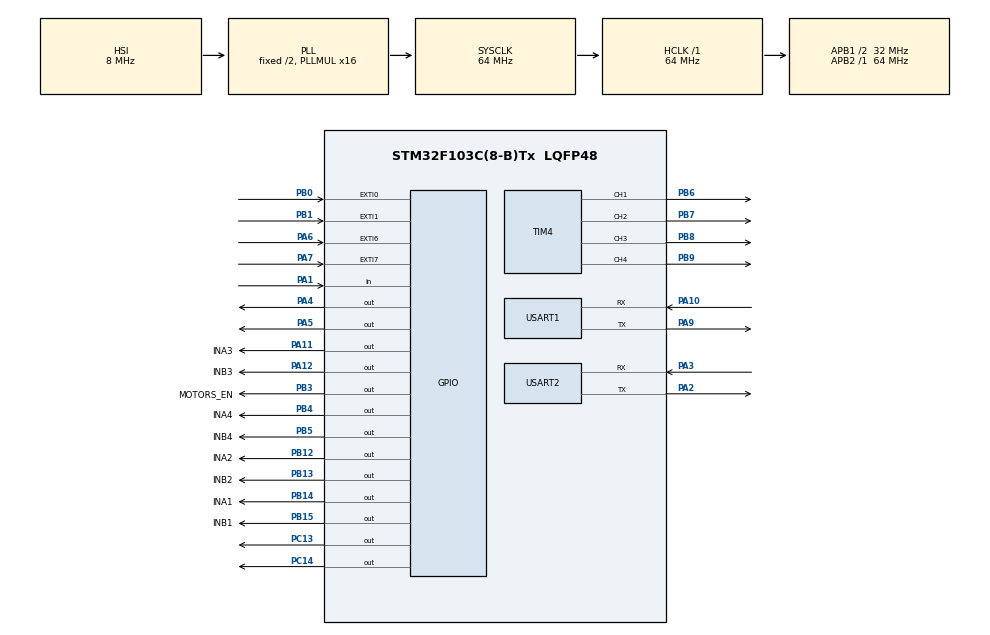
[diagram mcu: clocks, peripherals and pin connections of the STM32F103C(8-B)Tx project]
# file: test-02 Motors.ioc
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Dma.Request0=USART1_RX
Dma.Request1=USART2_RX
Dma.USART1_RX.0.Direction=DMA_PERIPH_TO_MEMORY
Dma.USART1_RX.0.Instance=DMA1_Channel5
Dma.USART1_RX.0.MemDataAlignment=DMA_MDATAALIGN_BYTE
Dma.USART1_RX.0.MemInc=DMA_MINC_ENABLE
Dma.USART1_RX.0.Mode=DMA_NORMAL
Dma.USART1_RX.0.PeriphDataAlignment=DMA_PDATAALIGN_BYTE
Dma.USART1_RX.0.PeriphInc=DMA_PINC_DISABLE
Dma.USART1_RX.0.Priority=DMA_PRIORITY_LOW
Dma.USART2_RX.1.Direction=DMA_PERIPH_TO_MEMORY
Dma.USART2_RX.1.Instance=DMA1_Channel6
Dma.USART2_RX.1.MemDataAlignment=DMA_MDATAALIGN_BYTE
Dma.USART2_RX.1.MemInc=DMA_MINC_ENABLE
Dma.USART2_RX.1.Mode=DMA_NORMAL
Dma.USART2_RX.1.PeriphDataAlignment=DMA_PDATAALIGN_BYTE
Dma.USART2_RX.1.PeriphInc=DMA_PINC_DISABLE
Dma.USART2_RX.1.Priority=DMA_PRIORITY_LOW
Mcu.Family=STM32F1
Mcu.Name=STM32F103C(8-B)Tx
Mcu.Package=LQFP48
NVIC.DMA1_Channel5_IRQn=true\:0\:0\:false\:false\:true\:false\:true\:true
NVIC.DMA1_Channel6_IRQn=true\:0\:0\:false\:false\:true\:false\:true\:true
NVIC.EXTI0_IRQn=true\:0\:0\:false\:false\:true\:true\:true\:true
NVIC.EXTI1_IRQn=true\:0\:0\:false\:false\:true\:true\:true\:true
NVIC.EXTI9_5_IRQn=true\:0\:0\:false\:false\:true\:true\:true\:true
NVIC.PriorityGroup=NVIC_PRIORITYGROUP_4
NVIC.TIM2_IRQn=true\:0\:0\:false\:false\:true\:true\:true\:true
NVIC.USART1_IRQn=true\:0\:0\:false\:false\:true\:true\:true\:true
NVIC.USART2_IRQn=true\:0\:0\:false\:false\:true\:true\:true\:true
PA1.Signal=GPIO_Input
PA10.Mode=Asynchronous
PA10.Signal=USART1_RX
PA11.GPIO_Label=INA3
PA11.Signal=GPIO_Output
PA12.GPIO_Label=INB3
PA12.Signal=GPIO_Output
PA13.Mode=Serial_Wire
PA13.Signal=SYS_JTMS-SWDIO
PA14.Mode=Serial_Wire
PA14.Signal=SYS_JTCK-SWCLK
PA2.Mode=Asynchronous
PA2.Signal=USART2_TX
PA3.Mode=Asynchronous
PA3.Signal=USART2_RX
PA4.Signal=GPIO_Output
PA5.Signal=GPIO_Output
PA6.GPIO_ModeDefaultEXTI=GPIO_MODE_IT_RISING_FALLING
PA6.GPIO_PuPd=GPIO_PULLUP
PA6.Signal=GPXTI6
PA7.GPIO_ModeDefaultEXTI=GPIO_MODE_IT_RISING_FALLING
PA7.GPIO_PuPd=GPIO_PULLUP
PA7.Signal=GPXTI7
PA9.Mode=Asynchronous
PA9.Signal=USART1_TX
PB0.GPIO_ModeDefaultEXTI=GPIO_MODE_IT_RISING_FALLING
PB0.GPIO_PuPd=GPIO_PULLUP
PB0.Signal=GPXTI0
PB1.GPIO_ModeDefaultEXTI=GPIO_MODE_IT_RISING_FALLING
PB1.GPIO_PuPd=GPIO_PULLUP
PB1.Signal=GPXTI1
PB12.GPIO_Label=INA2
PB12.Signal=GPIO_Output
PB13.GPIO_Label=INB2
PB13.Signal=GPIO_Output
PB14.GPIO_Label=INA1
PB14.Signal=GPIO_Output
PB15.GPIO_Label=INB1
PB15.Signal=GPIO_Output
PB3.GPIO_Label=MOTORS_EN
PB3.Signal=GPIO_Output
PB4.GPIO_Label=INA4
PB4.Signal=GPIO_Output
PB5.GPIO_Label=INB4
PB5.Signal=GPIO_Output
PB6.Signal=S_TIM4_CH1
PB7.Signal=S_TIM4_CH2
PB8.Signal=S_TIM4_CH3
PB9.Signal=S_TIM4_CH4
PC13-TAMPER-RTC.Signal=GPIO_Output
PC14-OSC32_IN.Signal=GPIO_Output
ProjectManager.HeapSize=0x200
ProjectManager.StackSize=0x400
ProjectManager.TargetToolchain=STM32CubeIDE
RCC.AHBFreq_Value=64000000
RCC.APB1CLKDivider=RCC_HCLK_DIV2
RCC.APB1Freq_Value=32000000
RCC.APB1TimFreq_Value=64000000
RCC.APB2Freq_Value=64000000
RCC.APB2TimFreq_Value=64000000
RCC.HCLKFreq_Value=64000000
RCC.PLLMUL=RCC_PLL_MUL16
RCC.SYSCLKFreq_VALUE=64000000
RCC.SYSCLKSource=RCC_SYSCLKSOURCE_PLLCLK
RCC.USBFreq_Value=64000000
SH.S_TIM4_CH1.0=TIM4_CH1,PWM Generation1 CH1
SH.S_TIM4_CH2.0=TIM4_CH2,PWM Generation2 CH2
SH.S_TIM4_CH3.0=TIM4_CH3,PWM Generation3 CH3
SH.S_TIM4_CH4.0=TIM4_CH4,PWM Generation4 CH4
TIM1.Period=1000
TIM1.Prescaler=64-1
TIM2.Period=1000
TIM2.Prescaler=64-1
TIM4.Channel-PWM\ Generation1\ CH1=TIM_CHANNEL_1
TIM4.Channel-PWM\ Generation2\ CH2=TIM_CHANNEL_2
TIM4.Channel-PWM\ Generation3\ CH3=TIM_CHANNEL_3
TIM4.Channel-PWM\ Generation4\ CH4=TIM_CHANNEL_4
USART1.VirtualMode=VM_ASYNC
USART2.VirtualMode=VM_ASYNC
VP_TIM1_VS_ClockSourceINT.Mode=Internal
VP_TIM2_VS_ClockSourceINT.Mode=Internal
board=custom

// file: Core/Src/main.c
/* USER CODE BEGIN Header */
/**
  ******************************************************************************
  * @file           : main.c
  * @brief          : Main program body
  ******************************************************************************
  * @attention
  *
  * Copyright (c) 2023 STMicroelectronics.
  * All rights reserved.
  *
  * This software is licensed under terms that can be found in the LICENSE file
  * in the root directory of this software component.
  * If no LICENSE file comes with this software, it is provided AS-IS.
  *
  ******************************************************************************
  */
/* USER CODE END Header */
#include "main.h"

 TIM_HandleTypeDef htim1;
TIM_HandleTypeDef htim2;
TIM_HandleTypeDef htim4;

UART_HandleTypeDef huart1;
UART_HandleTypeDef huart2;
DMA_HandleTypeDef hdma_usart1_rx;
DMA_HandleTypeDef hdma_usart2_rx;

void SystemClock_Config(void);
static void MX_GPIO_Init(void);
static void MX_TIM4_Init(void);
static void MX_DMA_Init(void);
static void MX_USART1_UART_Init(void);
static void MX_USART2_UART_Init(void);
static void MX_TIM1_Init(void);
static void MX_TIM2_Init(void);

/* USER CODE BEGIN 0 */

#define RX1_Size 9
#define RX2_Size 8
uint8_t Rx1_Buff[RX1_Size];
uint8_t Rx2_Buff[RX2_Size];

int v = 20;
int l1, l2, r2, r1;
int16_t Pitch=0, Roll=0, Heading=0, Last_Heading = 0;
int counter = 0;
int correction = 0;
float K_P, K_I, K_D;
int Correction_EN = 0;
char look_direction = 'N';
uint32_t Front_Dist=0, Back_Dist=0, Right_Dist=0, Left_Dist=0, srf_cnt=0;

uint8_t GY_A5[] = {0xA5};
uint8_t GY_54[] = {0x54};
uint8_t GY_51[] = {0x51};
uint8_t GY_55[] = {0x55};
uint8_t GY_Init_Command[]    = {0xA5, 0x54, 0xA5, 0x51};
uint8_t GY_Request_Command[] = {0xA5, 0x51};
uint8_t GY_Set_Command[] = {0xA5, 0x55};

uint32_t Last_Time = 0;
uint16_t oldPos=0, newPos=0;
int32_t Motor1_Pulse = 0;
int32_t Motor2_Pulse = 0;
int32_t Motor3_Pulse = 0;
int32_t Motor4_Pulse = 0;
int Motor1_Dir = 1;
int Motor2_Dir = 1;
int Motor3_Dir = 1;
int Motor4_Dir = 1;
double Motor1_FB = 0;
uint32_t millis = 0;
void delay_us (uint16_t us)
{
//	__HAL_TIM_SET_COUNTER(&htim1,0);  // set the counter value a 0
//	while (__HAL_TIM_GET_COUNTER(&htim1) < us);  // wait for the counter to reach the us input in the parameter
}
void motor(int L1, int L2, int R2, int R1){
//	if(L1 > 15 && L1 <-15) L1 = 0;
//	if(L2 > 15 && L2 <-15) L2 = 0;
//	if(R2 > 15 && R2 <-15) R2 = 0;
//	if(R1 > 15 && R1 <-15) R1 = 0;

	L1 = L1*255;
	L2 = L2*255;
	R2 = R2*255;
	R1 = R1*255*1.35;

	if(L1 > 65535) L1 = 65535;
	if(L2 > 65535) L2 = 65535;
	if(R2 > 65535) R2 = 65535;
	if(R1 > 65535) R1 = 65535;

	if(L1 < -65535) L1 = -65535;
	if(L2 < -65535) L2 = -65535;
	if(R2 < -65535) R2 = -65535;
	if(R1 < -65535) R1 = -65535;

	// ------------------ L2
	if(L2 == 0){
		HAL_GPIO_WritePin(INA1_GPIO_Port, INA1_Pin, 0);
		HAL_GPIO_WritePin(INB1_GPIO_Port, INB1_Pin, 0);
		TIM4->CCR2 = 65535;
		Motor2_Dir = 0;
	}
	else if(L2 > 0){
		HAL_GPIO_WritePin(INA1_GPIO_Port, INA1_Pin, 1);
		HAL_GPIO_WritePin(INB1_GPIO_Port, INB1_Pin, 0);
		TIM4->CCR2 = L2;
		Motor2_Dir = 1;
	}else{
		HAL_GPIO_WritePin(INA1_GPIO_Port, INA1_Pin, 0);
		HAL_GPIO_WritePin(INB1_GPIO_Port, INB1_Pin, 1);
		TIM4->CCR2 = -L2;
		Motor2_Dir = -1;
	}
	// ------------------ L1
	if(L1 == 0){
		HAL_GPIO_WritePin(INA2_GPIO_Port, INA2_Pin, 0);
		HAL_GPIO_WritePin(INB2_GPIO_Port, INB2_Pin, 0);
		TIM4->CCR1 = 65535;
		Motor1_Dir = 0;
	}
	else if(L1 > 0){
		HAL_GPIO_WritePin(INA2_GPIO_Port, INA2_Pin, 1);
		HAL_GPIO_WritePin(INB2_GPIO_Port, INB2_Pin, 0);
		TIM4->CCR1 = L1;
		Motor1_Dir = 1;
	}else{
		HAL_GPIO_WritePin(INA2_GPIO_Port, INA2_Pin, 0);
		HAL_GPIO_WritePin(INB2_GPIO_Port, INB2_Pin, 1);
		TIM4->CCR1 = -L1;
		Motor1_Dir = -1;
	}
	// ------------------ R2
	if(R2 == 0){
		HAL_GPIO_WritePin(INA3_GPIO_Port, INA3_Pin, 0);
		HAL_GPIO_WritePin(INB3_GPIO_Port, INB3_Pin, 0);
		TIM4->CCR3 = 65535;
		Motor3_Dir = 0;
	}
	else if(R2 > 0){
		HAL_GPIO_WritePin(INA3_GPIO_Port, INA3_Pin, 1);
		HAL_GPIO_WritePin(INB3_GPIO_Port, INB3_Pin, 0);
		TIM4->CCR3 = R2;
		Motor3_Dir = 1;
	}else{
		HAL_GPIO_WritePin(INA3_GPIO_Port, INA3_Pin, 0);
		HAL_GPIO_WritePin(INB3_GPIO_Port, INB3_Pin, 1);
		TIM4->CCR3 = -R2;
		Motor3_Dir = -1;
	}
	// ------------------ R1
	if(R1 == 0){
		HAL_GPIO_WritePin(INA4_GPIO_Port, INA4_Pin, 0);
		HAL_GPIO_WritePin(INB4_GPIO_Port, INB4_Pin, 0);
		TIM4->CCR4 = 65535;
		Motor4_Dir = 0;
	}
	else if(R1 > 0){
		HAL_GPIO_WritePin(INA4_GPIO_Port, INA4_Pin, 1);
		HAL_GPIO_WritePin(INB4_GPIO_Port, INB4_Pin, 0);
		TIM4->CCR4 = R1;
		Motor4_Dir = 1;
	}else{
		HAL_GPIO_WritePin(INA4_GPIO_Port, INA4_Pin, 0);
		HAL_GPIO_WritePin(INB4_GPIO_Port, INB4_Pin, 1);
		TIM4->CCR4 = -R1;
		Motor4_Dir = -1;
	}
}
void stop(){
	motor(0,0,0,0);
}
void move(int direction){
	if(direction == 0)  motor( v,  v, -v, -v);
	if(direction == 2)  motor( v,  0, -v,  0);
	if(direction == 4)  motor( v, -v, -v,  v);
	if(direction == 6)  motor( 0, -v,  0,  v);
	if(direction == 8)  motor(-v, -v,  v,  v);
	if(direction == 10) motor(-v,  0,  v,  0);
	if(direction == 12) motor(-v,  v,  v, -v);
	if(direction == 14) motor( 0,  v,  0, -v);
}
void initGY(){
	HAL_Delay(500);
	HAL_UART_Transmit(&huart2, GY_A5, 1, PHY_FULLDUPLEX_10M);
	HAL_UART_Transmit(&huart2, GY_54, 1, PHY_FULLDUPLEX_10M);
	HAL_Delay(500);
	HAL_UART_Transmit(&huart2, GY_A5, 1, PHY_FULLDUPLEX_10M);
	HAL_UART_Transmit(&huart2, GY_51, 1, PHY_FULLDUPLEX_10M);
	HAL_Delay(500);
	HAL_UART_Transmit(&huart2, GY_A5, 1, PHY_FULLDUPLEX_10M);
	HAL_UART_Transmit(&huart2, GY_55, 1, PHY_FULLDUPLEX_10M);
	HAL_Delay(500);
}
void delay(int t){
	for(register int i=0; i<t; i++);
}
void pinMode(int state){
	GPIO_InitTypeDef GPIO_InitStruct = {0};
	if(state == 0) // INPUT
	{
		GPIO_InitStruct.Pin = GPIO_PIN_1|GPIO_PIN_4|GPIO_PIN_5|GPIO_PIN_6;
		GPIO_InitStruct.Mode = GPIO_MODE_INPUT;
		GPIO_InitStruct.Pull = GPIO_NOPULL;
		GPIO_InitStruct.Speed = GPIO_SPEED_FREQ_LOW;
		HAL_GPIO_Init(GPIOA, &GPIO_InitStruct);
	}
	else if(state == 1) // OUTPUT
	{
		GPIO_InitStruct.Pin = GPIO_PIN_1|GPIO_PIN_4|GPIO_PIN_5|GPIO_PIN_6;
		GPIO_InitStruct.Mode = GPIO_MODE_OUTPUT_PP;
		GPIO_InitStruct.Pull = GPIO_NOPULL;
		GPIO_InitStruct.Speed = GPIO_SPEED_FREQ_LOW;
		HAL_GPIO_Init(GPIOA, &GPIO_InitStruct);
	}
}
void getDistances(){
//	pinMode(1);
//	HAL_GPIO_WritePin(GPIOA, GPIO_PIN_1, 1);
//	delay_us(10);
//	HAL_GPIO_WritePin(GPIOA, GPIO_PIN_1, 0);
//	pinMode(0);
//	srf_cnt = 0;
//	while(HAL_GPIO_ReadPin(GPIOA, GPIO_PIN_1) == 0);
//	while(HAL_GPIO_ReadPin(GPIOA, GPIO_PIN_1) == 1) srf_cnt++;
//	Front_Dist = srf_cnt/52;
//
//	pinMode(1);
//	HAL_GPIO_WritePin(GPIOA, GPIO_PIN_4, 1);
//	delay_us(10);
//	HAL_GPIO_WritePin(GPIOA, GPIO_PIN_4, 0);
//	pinMode(0);
//	srf_cnt = 0;
//	while(HAL_GPIO_ReadPin(GPIOA, GPIO_PIN_4) == 0);
//	while(HAL_GPIO_ReadPin(GPIOA, GPIO_PIN_4) == 1) srf_cnt++;
//	Right_Dist = srf_cnt/52;
//
//	pinMode(1);
//	HAL_GPIO_WritePin(GPIOA, GPIO_PIN_5, 1);
//	delay_us(10);
//	HAL_GPIO_WritePin(GPIOA, GPIO_PIN_5, 0);
//	pinMode(0);
//	srf_cnt = 0;
//	while(HAL_GPIO_ReadPin(GPIOA, GPIO_PIN_5) == 0);
//	while(HAL_GPIO_ReadPin(GPIOA, GPIO_PIN_5) == 1) srf_cnt++;
//	Back_Dist = srf_cnt/52;
//
//	pinMode(1);
//	HAL_GPIO_WritePin(GPIOA, GPIO_PIN_6, 1);
//	delay_us(10);
//	HAL_GPIO_WritePin(GPIOA, GPIO_PIN_6, 0);
//	pinMode(0);
//	srf_cnt = 0;
//	while(HAL_GPIO_ReadPin(GPIOA, GPIO_PIN_6) == 0);
//	while(HAL_GPIO_ReadPin(GPIOA, GPIO_PIN_6) == 1) srf_cnt++;
//	Left_Dist = srf_cnt/52;
}
int abs(int v){
	if(v >= 0) return v;
	else return -v;
}
void HAL_UARTEx_RxEventCallback(UART_HandleTypeDef *huart, uint16_t Size){
	if(huart->Instance == USART1){
		RED_ON;
		if(Rx1_Buff[0] == 'M') {
		  if(Rx1_Buff[1]=='-') 	r1 =-(int)Rx1_Buff[2];
		  else  				r1 = (int)Rx1_Buff[2];
		  ////////////////
		  if(Rx1_Buff[3]=='-') 	r2 =-(int)Rx1_Buff[4];
		  else  				r2 = (int)Rx1_Buff[4];
		  ////////////////
		  if(Rx1_Buff[5]=='-') 	l2 =-(int)Rx1_Buff[6];
		  else  				l2 = (int)Rx1_Buff[6];
		  ////////////////
		  if(Rx1_Buff[7]=='-') 	l1 =-(int)Rx1_Buff[8];
		  else  				l1 = (int)Rx1_Buff[8];
		}
		else if(Rx1_Buff[0] == 'S') {
			HAL_UART_Transmit(&huart2, GY_Set_Command, 2, PHY_FULLDUPLEX_10M);
			delay(100000);
			HAL_UART_Transmit(&huart2, GY_Set_Command, 2, PHY_FULLDUPLEX_10M);
			delay(100000);
		}
		else if(Rx1_Buff[0] == 'C') {
			if(Rx1_Buff[1] == 'T'){
				if(Correction_EN == 1) Correction_EN = 0;
				else				   Correction_EN = 1;
			}if(Rx1_Buff[1] == '1'){
				Correction_EN = 1;
			}if(Rx1_Buff[1] == '0'){
				Correction_EN = 0;
			}
		}
		else if(Rx1_Buff[0] == 'D') {
			getDistances();
			uint8_t tx_data[] = {
				 '+', (uint8_t) abs(Motor1_Pulse/255), (uint8_t) abs(Motor1_Pulse%255),
				 '+', (uint8_t) abs(Motor2_Pulse/255), (uint8_t) abs(Motor2_Pulse%255),
				 '+', (uint8_t) abs(Motor3_Pulse/255), (uint8_t) abs(Motor3_Pulse%255),
				 '+', (uint8_t) abs(Motor4_Pulse/255), (uint8_t) abs(Motor4_Pulse%255)
			};
			if(Motor1_Pulse < 0) tx_data[0] = '-';
			if(Motor2_Pulse < 0) tx_data[3] = '-';
			if(Motor3_Pulse < 0) tx_data[6] = '-';
			if(Motor4_Pulse < 0) tx_data[9] = '-';

			HAL_UART_Transmit(&huart1, tx_data, 12, PHY_FULLDUPLEX_10M);
		}
		else if(Rx1_Buff[0] == 'P') {
			look_direction = Rx1_Buff[1];
		}
		else if(Rx1_Buff[0] == 'R') {
			Motor1_Pulse = 0;
			Motor2_Pulse = 0;
			Motor3_Pulse = 0;
			Motor4_Pulse = 0;
		}

		RED_OFF;
		HAL_UARTEx_ReceiveToIdle_DMA(&huart1, Rx1_Buff, RX1_Size);
		__HAL_DMA_DISABLE_IT(&hdma_usart1_rx, DMA_IT_HT);
	}
	else if(huart->Instance == USART2){
		GREEN_ON;
		for(int i=0; i<RX2_Size; i++){
			if(Rx2_Buff[i] == 0xAA){
				Heading = (int16_t)(Rx2_Buff[(i+1)%8]<<8 | Rx2_Buff[(i+2)%8])/100.00;
				Pitch = (int16_t)(Rx2_Buff[(i+3)%8]<<8 | Rx2_Buff[(i+4)%8])/100.00;
				Roll = (int16_t)(Rx2_Buff[(i+5)%8]<<8 | Rx2_Buff[(i+6)%8])/100.00;

				if(look_direction == 'W'){
					Heading -= 90;
				}
				if(look_direction == 'E'){
					Heading += 90;
				}
				if(look_direction == 'S'){
					if(Heading > 0) Heading = Heading - 180;
					else		    Heading = Heading + 180;
				}
				if(Heading > 180) Heading -= 180;
				if(Heading <-180) Heading += 180;
			}
		}
		GREEN_OFF;
		HAL_UART_Transmit(&huart2, GY_Request_Command, 2, PHY_FULLDUPLEX_10M);
		HAL_UARTEx_ReceiveToIdle_DMA(&huart2, Rx2_Buff, RX2_Size);
		__HAL_DMA_DISABLE_IT(&hdma_usart2_rx, DMA_IT_HT);
	}
}
void HAL_GPIO_EXTI_Callback(uint16_t GPIO_Pin)
{
	if(GPIO_Pin == GPIO_PIN_1){
		Motor2_Pulse += Motor2_Dir;
	}
	if(GPIO_Pin == GPIO_PIN_0){
		Motor3_Pulse += Motor3_Dir;
	}
	if(GPIO_Pin == GPIO_PIN_7){
		Motor1_Pulse += Motor1_Dir;
	}
	if(GPIO_Pin == GPIO_PIN_6){
		Motor4_Pulse += Motor4_Dir;
	}

}
void HAL_TIM_PeriodElapsedCallback(TIM_HandleTypeDef *htim)
{
  if(htim->Instance == TIM2)
  {
    millis ++;
  }
}
/* USER CODE END 0 */

int main(void)
{

  /* MCU Configuration--------------------------------------------------------*/

  /* Reset of all peripherals, Initializes the Flash interface and the Systick. */
  HAL_Init();

  /* Configure the system clock */
  SystemClock_Config();

  /* Initialize all configured peripherals */
  MX_GPIO_Init();
  MX_TIM4_Init();
  MX_DMA_Init();
  MX_USART1_UART_Init();
  MX_USART2_UART_Init();
  MX_TIM1_Init();
  MX_TIM2_Init();
  /* USER CODE BEGIN 2 */

  HAL_TIM_PWM_Start(&htim4, TIM_CHANNEL_1);
  HAL_TIM_PWM_Start(&htim4, TIM_CHANNEL_2);
  HAL_TIM_PWM_Start(&htim4, TIM_CHANNEL_3);
  HAL_TIM_PWM_Start(&htim4, TIM_CHANNEL_4);
  HAL_TIM_Base_Start_IT(&htim2);

  HAL_GPIO_WritePin(MOTORS_EN_GPIO_Port, MOTORS_EN_Pin, 1);

  HAL_GPIO_WritePin(GPIOC, GPIO_PIN_13, 1); // Red LED
  HAL_GPIO_WritePin(GPIOC, GPIO_PIN_14, 0); // Red LED
  for(int i=0; i<5; i++){
	  HAL_Delay(100);
	  HAL_GPIO_TogglePin(GPIOC, GPIO_PIN_14); // Red LED
	  HAL_GPIO_TogglePin(GPIOC, GPIO_PIN_13); // Green LED
  }
  RED_OFF;
  GREEN_OFF;

  initGY();

  HAL_UARTEx_ReceiveToIdle_DMA(&huart1, Rx1_Buff, RX1_Size);
  __HAL_DMA_DISABLE_IT(&hdma_usart1_rx, DMA_IT_HT);

  HAL_UART_Transmit(&huart2, GY_Request_Command, 2, PHY_FULLDUPLEX_10M);
  HAL_UARTEx_ReceiveToIdle_DMA(&huart2, Rx2_Buff, RX2_Size);
  __HAL_DMA_DISABLE_IT(&hdma_usart2_rx, DMA_IT_HT);

  Last_Time = HAL_GetTick();
  /* USER CODE END 2 */

  /* Infinite loop */
  /* USER CODE BEGIN WHILE */
  while (1)
  {
//	  if(HAL_GPIO_ReadPin(GPIOA, GPIO_PIN_7)) HAL_GPIO_WritePin(GPIOC, GPIO_PIN_13, 1); // Red LED
//	  else HAL_GPIO_WritePin(GPIOC, GPIO_PIN_13, 0); // Red LED

//	  if(millis > 200){
//		  Motor1_FB = Motor1_Dir * ((Motor1_Pulse / 36.0) / 200.0)*1000*60;
//		  Motor1_Pulse = 0;
//		  millis = 0;
//	  }
	  K_P = Heading;
	  if(HAL_GetTick() - Last_Time > 1000){
		  if(Heading == 0) {
			  K_I = 0;
			  K_D = 0;
		  }else{
			  K_I = (K_I + Heading);
			  K_D = (Heading - Last_Heading);
		  }
		  Last_Time = HAL_GetTick();
		  Last_Heading = Heading;
	  }
	  // correction = 2.1 * K_P + 0.43 * K_I + 0.0 * K_D;
	  correction = 1 * K_P + 0.9 * K_I + 0.1 * K_D;

	  if(Correction_EN == 1)
		  motor(l1 + correction, l2 + correction, r2 + correction, r1 + correction);
	  else
		  motor(l1, l2, r2, r1);

    /* USER CODE END WHILE */

  }
}

void SystemClock_Config(void)
{
  RCC_OscInitTypeDef RCC_OscInitStruct = {0};
  RCC_ClkInitTypeDef RCC_ClkInitStruct = {0};

  /** Initializes the RCC Oscillators according to the specified parameters
  * in the RCC_OscInitTypeDef structure.
  */
  RCC_OscInitStruct.OscillatorType = RCC_OSCILLATORTYPE_HSI;
  RCC_OscInitStruct.HSIState = RCC_HSI_ON;
  RCC_OscInitStruct.HSICalibrationValue = RCC_HSICALIBRATION_DEFAULT;
  RCC_OscInitStruct.PLL.PLLState = RCC_PLL_ON;
  RCC_OscInitStruct.PLL.PLLSource = RCC_PLLSOURCE_HSI_DIV2;
  RCC_OscInitStruct.PLL.PLLMUL = RCC_PLL_MUL16;
  if (HAL_RCC_OscConfig(&RCC_OscInitStruct) != HAL_OK)
  {
    Error_Handler();
  }

  /** Initializes the CPU, AHB and APB buses clocks
  */
  RCC_ClkInitStruct.ClockType = RCC_CLOCKTYPE_HCLK|RCC_CLOCKTYPE_SYSCLK
                              |RCC_CLOCKTYPE_PCLK1|RCC_CLOCKTYPE_PCLK2;
  RCC_ClkInitStruct.SYSCLKSource = RCC_SYSCLKSOURCE_PLLCLK;
  RCC_ClkInitStruct.AHBCLKDivider = RCC_SYSCLK_DIV1;
  RCC_ClkInitStruct.APB1CLKDivider = RCC_HCLK_DIV2;
  RCC_ClkInitStruct.APB2CLKDivider = RCC_HCLK_DIV1;

  if (HAL_RCC_ClockConfig(&RCC_ClkInitStruct, FLASH_LATENCY_2) != HAL_OK)
  {
    Error_Handler();
  }
}

static void MX_TIM1_Init(void)
{

  TIM_ClockConfigTypeDef sClockSourceConfig = {0};
  TIM_MasterConfigTypeDef sMasterConfig = {0};

  htim1.Instance = TIM1;
  htim1.Init.Prescaler = 64-1;
  htim1.Init.CounterMode = TIM_COUNTERMODE_UP;
  htim1.Init.Period = 1000;
  htim1.Init.ClockDivision = TIM_CLOCKDIVISION_DIV1;
  htim1.Init.RepetitionCounter = 0;
  htim1.Init.AutoReloadPreload = TIM_AUTORELOAD_PRELOAD_DISABLE;
  if (HAL_TIM_Base_Init(&htim1) != HAL_OK)
  {
    Error_Handler();
  }
  sClockSourceConfig.ClockSource = TIM_CLOCKSOURCE_INTERNAL;
  if (HAL_TIM_ConfigClockSource(&htim1, &sClockSourceConfig) != HAL_OK)
  {
    Error_Handler();
  }
  sMasterConfig.MasterOutputTrigger = TIM_TRGO_RESET;
  sMasterConfig.MasterSlaveMode = TIM_MASTERSLAVEMODE_DISABLE;
  if (HAL_TIMEx_MasterConfigSynchronization(&htim1, &sMasterConfig) != HAL_OK)
  {
    Error_Handler();
  }

}

static void MX_TIM2_Init(void)
{

  TIM_ClockConfigTypeDef sClockSourceConfig = {0};
  TIM_MasterConfigTypeDef sMasterConfig = {0};

  htim2.Instance = TIM2;
  htim2.Init.Prescaler = 64-1;
  htim2.Init.CounterMode = TIM_COUNTERMODE_UP;
  htim2.Init.Period = 1000;
  htim2.Init.ClockDivision = TIM_CLOCKDIVISION_DIV1;
  htim2.Init.AutoReloadPreload = TIM_AUTORELOAD_PRELOAD_DISABLE;
  if (HAL_TIM_Base_Init(&htim2) != HAL_OK)
  {
    Error_Handler();
  }
  sClockSourceConfig.ClockSource = TIM_CLOCKSOURCE_INTERNAL;
  if (HAL_TIM_ConfigClockSource(&htim2, &sClockSourceConfig) != HAL_OK)
  {
    Error_Handler();
  }
  sMasterConfig.MasterOutputTrigger = TIM_TRGO_RESET;
  sMasterConfig.MasterSlaveMode = TIM_MASTERSLAVEMODE_DISABLE;
  if (HAL_TIMEx_MasterConfigSynchronization(&htim2, &sMasterConfig) != HAL_OK)
  {
    Error_Handler();
  }

}

static void MX_TIM4_Init(void)
{

  TIM_MasterConfigTypeDef sMasterConfig = {0};
  TIM_OC_InitTypeDef sConfigOC = {0};

  htim4.Instance = TIM4;
  htim4.Init.Prescaler = 0;
  htim4.Init.CounterMode = TIM_COUNTERMODE_UP;
  htim4.Init.Period = 65535;
  htim4.Init.ClockDivision = TIM_CLOCKDIVISION_DIV1;
  htim4.Init.AutoReloadPreload = TIM_AUTORELOAD_PRELOAD_DISABLE;
  if (HAL_TIM_PWM_Init(&htim4) != HAL_OK)
  {
    Error_Handler();
  }
  sMasterConfig.MasterOutputTrigger = TIM_TRGO_RESET;
  sMasterConfig.MasterSlaveMode = TIM_MASTERSLAVEMODE_DISABLE;
  if (HAL_TIMEx_MasterConfigSynchronization(&htim4, &sMasterConfig) != HAL_OK)
  {
    Error_Handler();
  }
  sConfigOC.OCMode = TIM_OCMODE_PWM1;
  sConfigOC.Pulse = 0;
  sConfigOC.OCPolarity = TIM_OCPOLARITY_HIGH;
  sConfigOC.OCFastMode = TIM_OCFAST_DISABLE;
  if (HAL_TIM_PWM_ConfigChannel(&htim4, &sConfigOC, TIM_CHANNEL_1) != HAL_OK)
  {
    Error_Handler();
  }
  if (HAL_TIM_PWM_ConfigChannel(&htim4, &sConfigOC, TIM_CHANNEL_2) != HAL_OK)
  {
    Error_Handler();
  }
  if (HAL_TIM_PWM_ConfigChannel(&htim4, &sConfigOC, TIM_CHANNEL_3) != HAL_OK)
  {
    Error_Handler();
  }
  if (HAL_TIM_PWM_ConfigChannel(&htim4, &sConfigOC, TIM_CHANNEL_4) != HAL_OK)
  {
    Error_Handler();
  }
  HAL_TIM_MspPostInit(&htim4);

}

static void MX_USART1_UART_Init(void)
{

  huart1.Instance = USART1;
  huart1.Init.BaudRate = 115200;
  huart1.Init.WordLength = UART_WORDLENGTH_8B;
  huart1.Init.StopBits = UART_STOPBITS_1;
  huart1.Init.Parity = UART_PARITY_NONE;
  huart1.Init.Mode = UART_MODE_TX_RX;
  huart1.Init.HwFlowCtl = UART_HWCONTROL_NONE;
  huart1.Init.OverSampling = UART_OVERSAMPLING_16;
  if (HAL_UART_Init(&huart1) != HAL_OK)
  {
    Error_Handler();
  }

}

static void MX_USART2_UART_Init(void)
{

  huart2.Instance = USART2;
  huart2.Init.BaudRate = 115200;
  huart2.Init.WordLength = UART_WORDLENGTH_8B;
  huart2.Init.StopBits = UART_STOPBITS_1;
  huart2.Init.Parity = UART_PARITY_NONE;
  huart2.Init.Mode = UART_MODE_TX_RX;
  huart2.Init.HwFlowCtl = UART_HWCONTROL_NONE;
  huart2.Init.OverSampling = UART_OVERSAMPLING_16;
  if (HAL_UART_Init(&huart2) != HAL_OK)
  {
    Error_Handler();
  }

}

static void MX_DMA_Init(void)
{

  /* DMA controller clock enable */
  __HAL_RCC_DMA1_CLK_ENABLE();

  /* DMA interrupt init */
  /* DMA1_Channel5_IRQn interrupt configuration */
  HAL_NVIC_SetPriority(DMA1_Channel5_IRQn, 0, 0);
  HAL_NVIC_EnableIRQ(DMA1_Channel5_IRQn);
  /* DMA1_Channel6_IRQn interrupt configuration */
  HAL_NVIC_SetPriority(DMA1_Channel6_IRQn, 0, 0);
  HAL_NVIC_EnableIRQ(DMA1_Channel6_IRQn);

}

static void MX_GPIO_Init(void)
{
  GPIO_InitTypeDef GPIO_InitStruct = {0};

  /* GPIO Ports Clock Enable */
  __HAL_RCC_GPIOC_CLK_ENABLE();
  __HAL_RCC_GPIOA_CLK_ENABLE();
  __HAL_RCC_GPIOB_CLK_ENABLE();

  /*Configure GPIO pin Output Level */
  HAL_GPIO_WritePin(GPIOC, GPIO_PIN_13|GPIO_PIN_14, GPIO_PIN_RESET);

  /*Configure GPIO pin Output Level */
  HAL_GPIO_WritePin(GPIOA, GPIO_PIN_4|GPIO_PIN_5|INA3_Pin|INB3_Pin, GPIO_PIN_RESET);

  /*Configure GPIO pin Output Level */
  HAL_GPIO_WritePin(GPIOB, INA2_Pin|INB2_Pin|INA1_Pin|INB1_Pin
                          |MOTORS_EN_Pin|INA4_Pin|INB4_Pin, GPIO_PIN_RESET);

  /*Configure GPIO pins : PC13 PC14 */
  GPIO_InitStruct.Pin = GPIO_PIN_13|GPIO_PIN_14;
  GPIO_InitStruct.Mode = GPIO_MODE_OUTPUT_PP;
  GPIO_InitStruct.Pull = GPIO_NOPULL;
  GPIO_InitStruct.Speed = GPIO_SPEED_FREQ_LOW;
  HAL_GPIO_Init(GPIOC, &GPIO_InitStruct);

  /*Configure GPIO pin : PA1 */
  GPIO_InitStruct.Pin = GPIO_PIN_1;
  GPIO_InitStruct.Mode = GPIO_MODE_INPUT;
  GPIO_InitStruct.Pull = GPIO_NOPULL;
  HAL_GPIO_Init(GPIOA, &GPIO_InitStruct);

  /*Configure GPIO pins : PA4 PA5 INA3_Pin INB3_Pin */
  GPIO_InitStruct.Pin = GPIO_PIN_4|GPIO_PIN_5|INA3_Pin|INB3_Pin;
  GPIO_InitStruct.Mode = GPIO_MODE_OUTPUT_PP;
  GPIO_InitStruct.Pull = GPIO_NOPULL;
  GPIO_InitStruct.Speed = GPIO_SPEED_FREQ_LOW;
  HAL_GPIO_Init(GPIOA, &GPIO_InitStruct);

  /*Configure GPIO pins : PA6 PA7 */
  GPIO_InitStruct.Pin = GPIO_PIN_6|GPIO_PIN_7;
  GPIO_InitStruct.Mode = GPIO_MODE_IT_RISING_FALLING;
  GPIO_InitStruct.Pull = GPIO_PULLUP;
  HAL_GPIO_Init(GPIOA, &GPIO_InitStruct);

  /*Configure GPIO pins : PB0 PB1 */
  GPIO_InitStruct.Pin = GPIO_PIN_0|GPIO_PIN_1;
  GPIO_InitStruct.Mode = GPIO_MODE_IT_RISING_FALLING;
  GPIO_InitStruct.Pull = GPIO_PULLUP;
  HAL_GPIO_Init(GPIOB, &GPIO_InitStruct);

  /*Configure GPIO pins : INA2_Pin INB2_Pin INA1_Pin INB1_Pin
                           MOTORS_EN_Pin INA4_Pin INB4_Pin */
  GPIO_InitStruct.Pin = INA2_Pin|INB2_Pin|INA1_Pin|INB1_Pin
                          |MOTORS_EN_Pin|INA4_Pin|INB4_Pin;
  GPIO_InitStruct.Mode = GPIO_MODE_OUTPUT_PP;
  GPIO_InitStruct.Pull = GPIO_NOPULL;
  GPIO_InitStruct.Speed = GPIO_SPEED_FREQ_LOW;
  HAL_GPIO_Init(GPIOB, &GPIO_InitStruct);

  /* EXTI interrupt init*/
  HAL_NVIC_SetPriority(EXTI0_IRQn, 0, 0);
  HAL_NVIC_EnableIRQ(EXTI0_IRQn);

  HAL_NVIC_SetPriority(EXTI1_IRQn, 0, 0);
  HAL_NVIC_EnableIRQ(EXTI1_IRQn);

  HAL_NVIC_SetPriority(EXTI9_5_IRQn, 0, 0);
  HAL_NVIC_EnableIRQ(EXTI9_5_IRQn);

}

void Error_Handler(void)
{
  __disable_irq();
  while (1)
  {
  }
}
